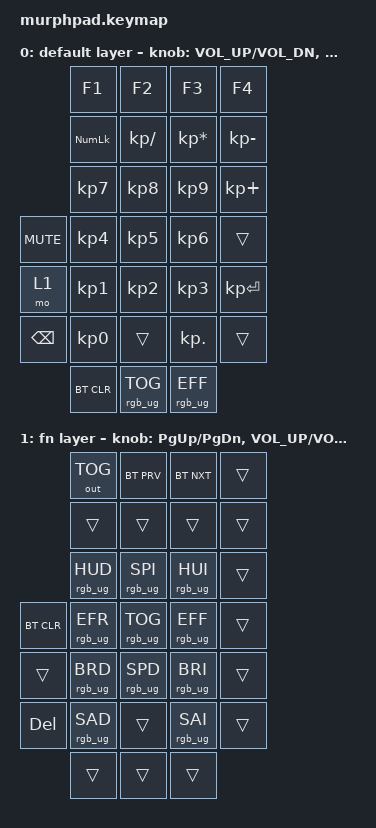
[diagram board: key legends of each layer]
/*
 * Copyright (c) 2021 The ZMK Contributors
 *
 * SPDX-License-Identifier: MIT
 */

#include <behaviors.dtsi>
#include <dt-bindings/zmk/keys.h>
#include <dt-bindings/zmk/bt.h>
#include <dt-bindings/zmk/outputs.h>
#include <dt-bindings/zmk/rgb.h>

#define TIMEOUT 300

&encoder_1 {
    status = "okay";
};

&encoder_2 {
    status = "okay";
};

/ {
    combos {
        compatible = "zmk,combos";
        combo_btclr {
            timeout-ms = <TIMEOUT>;
            key-positions = <0 4>;
            bindings = <&bt BT_CLR>;
        };
        combo_reset {
            timeout-ms = <TIMEOUT>;
            key-positions = <0 2>;
            bindings = <&sys_reset>;
        };
        combo_bootloader {
            timeout-ms = <TIMEOUT>;
            key-positions = <0 1>;
            bindings = <&bootloader>;
        };
        combo_bt_nxt {
            timeout-ms = <TIMEOUT>;
            key-positions = <0 3>;
            bindings = <&bt BT_NXT>;
        };
    };

    sensors {
        compatible = "zmk,keymap-sensors";
        sensors = <&encoder_1 &encoder_2>;
        triggers-per-rotation = <20>;
    };

    chosen { zmk,matrix_transform = &all_1u; };

    keymap0: keymap {
        compatible = "zmk,keymap";

        default_layer {
            label = "default layer";
            bindings = <
                            &kp F1       &kp F2          &kp F3            &kp F4
                            &kp KP_NUM   &kp KP_DIVIDE   &kp KP_MULTIPLY   &kp KP_MINUS
                            &kp KP_N7    &kp KP_N8       &kp KP_N9         &kp KP_PLUS
                &kp C_MUTE  &kp KP_N4    &kp KP_N5       &kp KP_N6         &trans
                &mo 1       &kp KP_N1    &kp KP_N2       &kp KP_N3         &kp KP_ENTER
                &kp BSPC    &kp KP_N0    &trans          &kp KP_DOT        &trans

                            &bt BT_CLR   &rgb_ug RGB_TOG &rgb_ug RGB_EFF
            >;
            sensor-bindings = <&inc_dec_kp C_VOL_UP C_VOL_DN &inc_dec_kp PG_UP PG_DN>;

        };

        fn_layer {
            label = "fn layer";
            bindings = <
                            &out OUT_TOG     &bt BT_PRV       &bt BT_NXT       &trans
                            &trans           &trans           &trans           &trans
                            &rgb_ug RGB_HUD  &rgb_ug RGB_SPI  &rgb_ug RGB_HUI  &trans
                &bt BT_CLR  &rgb_ug RGB_EFR  &rgb_ug RGB_TOG  &rgb_ug RGB_EFF  &trans
                &trans      &rgb_ug RGB_BRD  &rgb_ug RGB_SPD  &rgb_ug RGB_BRI  &trans
                &kp DEL     &rgb_ug RGB_SAD  &trans           &rgb_ug RGB_SAI  &trans

                            &trans           &trans           &trans
            >;
            sensor-bindings = <&inc_dec_kp PG_UP PG_DN &inc_dec_kp C_VOL_UP C_VOL_DN>;

        };
    };
};
